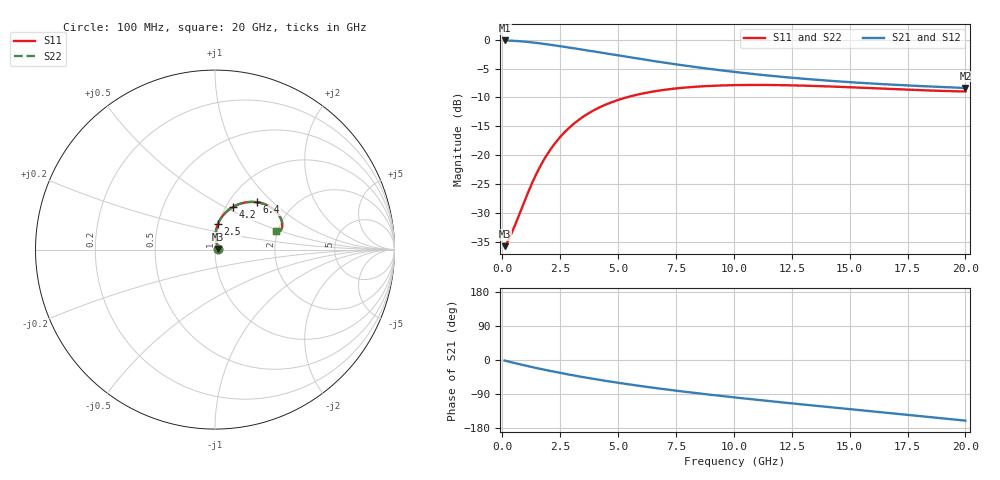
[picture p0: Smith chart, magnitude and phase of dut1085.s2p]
! Touchstone file exported from HFSS 2024.1.0
!  File:  C:/UserFiles/LocalFiles/RDL_TSV_Batchsim/temp_RDL_TSV_1085_1780096667.aedt
!  Generated:  07:28:14 AM May 30, 2026
!  Design:  RDL_TSV
!  Project:  temp_RDL_TSV_1085_1780096667
!  Setup:  Setup1
!  Solution:  Sweep
! Variables:
!  dtsv = 9.99um
!  hbump = 3um
!  htsv = 69.22um
!  ldown = 409.2um
!  lrdl = 230.41um
!  p = 40
!  p1 = 56.77um
!  rhole = 10um
!  subl = 2149.24um
!  t = 450um
!  tdown = 3.59um
!  trdl = 3.75um
!  viad = 10um
!  wdown = 12.7um
!  wrdl = 14.43um
!  xbump = 18um
# GHz S MA R 50.000000
! Terminal data exported
! Port[1] = TM1_1_T1
! Port[2] = TM1_4_T1
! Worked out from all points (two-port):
!   200 points, 100 MHz to 20 GHz, reference 50 ohm
!   highest |S21| = -0.14 dB at 100 MHz (marker M1); lowest = -8.4 dB at 20 GHz (marker M2)
!   |S21| within 3 dB of the highest: start of sweep to 5.645 GHz
!   lowest |S11| = -35.7 dB at 100 MHz (marker M3), VSWR 1.03, Z = 51.6 + j0.39 ohm
!   |S11| at or under -10 dB: start of sweep to 5.36 GHz
!   |S22| runs from -35.7 to -7.8 dB; largest |S21 - S12| = 8.5e-15
!   S11 on the Smith chart (normalised r, x): 100 MHz: 1.03, +0.01; 2.5 GHz: 0.99, +0.29; 4.2 GHz: 1.08, +0.55; 6.4 GHz: 1.33, +0.80; 20 GHz: 1.95, +0.47
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0.1  0.01634 13.4  0.9837 -1.5  0.9837 -1.5  0.01634 13.4
! Gamma 0 0 0 0
! Port Impedance 50 0 50 0
0.2  0.01749 25.4  0.9827 -3.0  0.9827 -3.0  0.01749 25.4
0.4  0.02115 44.6  0.9792 -6.0  0.9792 -6.0  0.02115 44.6
0.8  0.03311 70.3  0.9674 -11.9  0.9674 -11.9  0.03311 70.3
1.2  0.0524 83.0  0.9505 -17.5  0.9505 -17.5  0.0524 83.0
1.5  0.07085 86.6  0.9354 -21.6  0.9354 -21.6  0.07085 86.6
1.7  0.08448 87.3  0.9246 -24.2  0.9246 -24.2  0.08448 87.3
2  0.1062 86.8  0.9074 -28.0  0.9074 -28.0  0.1062 86.8
2.5  0.1438 83.5  0.8776 -34.0  0.8776 -34.0  0.1438 83.5
3  0.1809 78.9  0.8472 -39.8  0.8472 -39.8  0.1809 78.9
3.5  0.2158 73.9  0.8169 -45.2  0.8169 -45.2  0.2158 73.9
4.2  0.2593 66.9  0.7755 -52.4  0.7755 -52.4  0.2594 66.9
5.2  0.3095 57.8  0.7197 -61.9  0.7197 -61.9  0.3096 57.8
6.4  0.3524 48.5  0.6595 -72.2  0.6595 -72.2  0.3526 48.5
6.8  0.3632 45.7  0.6412 -75.5  0.6412 -75.5  0.3634 45.7
8.4  0.3919 36.4  0.5772 -87.5  0.5772 -87.5  0.3922 36.4
10.1  0.4043 28.9  0.5236 -99.2  0.5236 -99.2  0.4046 28.9
11.7  0.4048 23.6  0.4844 -109.5  0.4844 -109.5  0.4052 23.6
13.4  0.398 19.6  0.4522 -119.9  0.4522 -119.9  0.3985 19.6
15  0.3875 17.2  0.4288 -129.6  0.4288 -129.6  0.388 17.2
16.7  0.3749 16.0  0.4092 -139.8  0.4092 -139.8  0.3755 15.9
20  0.356 17.2  0.3818 -159.9  0.3818 -159.9  0.3566 17.2
